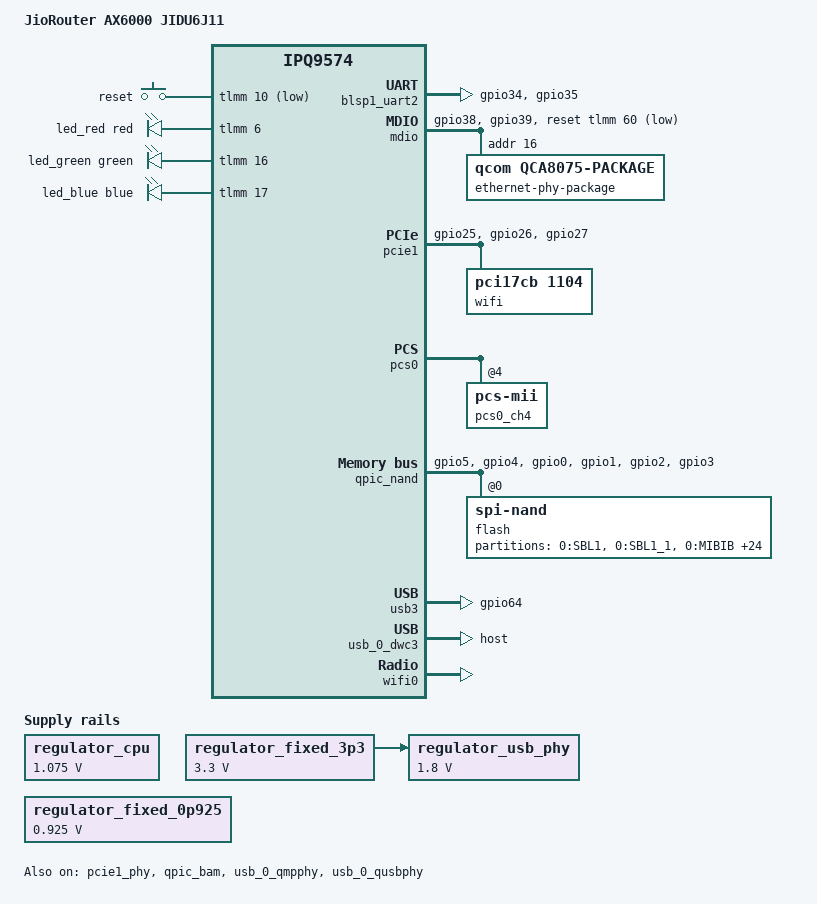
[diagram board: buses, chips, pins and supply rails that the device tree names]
// SPDX-License-Identifier: (GPL-2.0+ OR BSD-3-Clause)

/dts-v1/;

#include <dt-bindings/gpio/gpio.h>
#include <dt-bindings/input/input.h>
#include <dt-bindings/leds/common.h>

#include "ipq9574.dtsi"

/ {
	model = "JioRouter AX6000 JIDU6J11";
	compatible = "jiorouter,ax6000-jidu6j11", "qcom,ipq9574";

	aliases {
		serial0 = &blsp1_uart2;
		led-boot = &led_red;
		led-failsafe = &led_red;
		led-running = &led_green;
		led-upgrade = &led_blue;
	};

	chosen {
		stdout-path = "serial0:115200n8";
	};

	keys {
		compatible = "gpio-keys";
		pinctrl-0 = <&keys_pins>;
		pinctrl-names = "default";

		button-reset {
			label = "reset";
			linux,code = <KEY_RESTART>;
			gpios = <&tlmm 10 GPIO_ACTIVE_LOW>;
		};
	};

	leds {
		compatible = "gpio-leds";
		pinctrl-0 = <&leds_pins>;
		pinctrl-names = "default";

		led_red: led-0 {
			color = <LED_COLOR_ID_RED>;
			function = LED_FUNCTION_STATUS;
			gpios = <&tlmm 6 GPIO_ACTIVE_HIGH>;
			default-state = "on";
		};

		led_green: led-1 {
			color = <LED_COLOR_ID_GREEN>;
			function = LED_FUNCTION_STATUS;
			gpios = <&tlmm 16 GPIO_ACTIVE_HIGH>;
			default-state = "off";
		};

		led_blue: led-2 {
			color = <LED_COLOR_ID_BLUE>;
			function = LED_FUNCTION_STATUS;
			gpios = <&tlmm 17 GPIO_ACTIVE_HIGH>;
			default-state = "off";
		};
	};

	/*
	 * The board has no adjustable CPU regulator in use. The vendor
	 * firmware runs the CPU rail at a fixed 1.075 V.
	 */
	regulator_cpu: regulator-cpu {
		compatible = "regulator-fixed";
		regulator-name = "cpu-vdd";
		regulator-min-microvolt = <1075000>;
		regulator-max-microvolt = <1075000>;
		regulator-boot-on;
		regulator-always-on;
	};

	regulator_fixed_3p3: regulator-3p3 {
		compatible = "regulator-fixed";
		regulator-name = "fixed_3p3";
		regulator-min-microvolt = <3300000>;
		regulator-max-microvolt = <3300000>;
		regulator-boot-on;
		regulator-always-on;
	};

	regulator_fixed_0p925: regulator-0p925 {
		compatible = "regulator-fixed";
		regulator-name = "fixed_0p925";
		regulator-min-microvolt = <925000>;
		regulator-max-microvolt = <925000>;
		regulator-boot-on;
		regulator-always-on;
	};

	regulator_usb_phy: regulator-usb-phy {
		compatible = "regulator-fixed";
		regulator-name = "vdd_usb_phy";
		regulator-min-microvolt = <1800000>;
		regulator-max-microvolt = <1800000>;
		regulator-boot-on;
		regulator-always-on;
		vin-supply = <&regulator_fixed_3p3>;
	};
};

&blsp1_uart2 {
	pinctrl-0 = <&uart2_pins>;
	pinctrl-names = "default";
	status = "okay";
};

&cpu0 {
	cpu-supply = <&regulator_cpu>;
};

&cpu1 {
	cpu-supply = <&regulator_cpu>;
};

&cpu2 {
	cpu-supply = <&regulator_cpu>;
};

&cpu3 {
	cpu-supply = <&regulator_cpu>;
};

&mdio {
	pinctrl-0 = <&mdio_pins>;
	pinctrl-names = "default";
	reset-gpios = <&tlmm 60 GPIO_ACTIVE_LOW>;
	status = "okay";

	ethernet-phy-package@10 {
		compatible = "qcom,qca8075-package";
		#address-cells = <1>;
		#size-cells = <0>;
		reg = <0x10>;

		qca8075_0: ethernet-phy@10 {
			reg = <0x10>;
		};

		qca8075_1: ethernet-phy@11 {
			reg = <0x11>;
		};

		qca8075_2: ethernet-phy@12 {
			reg = <0x12>;
		};

		qca8075_3: ethernet-phy@13 {
			reg = <0x13>;
		};

		qca8075_4: ethernet-phy@14 {
			reg = <0x14>;
		};
	};
};

&pcie1_phy {
	status = "okay";
};

/* QCN9074 5 GHz radio */
&pcie1 {
	pinctrl-0 = <&pcie1_pins>;
	pinctrl-names = "default";
	perst-gpios = <&tlmm 26 GPIO_ACTIVE_LOW>;
	status = "okay";

	pcie@0 {
		device_type = "pci";
		reg = <0x0 0x0 0x0 0x0 0x0>;
		#address-cells = <3>;
		#size-cells = <2>;
		ranges;

		wifi@0,0 {
			compatible = "pci17cb,1104";
			reg = <0x10000 0x0 0x0 0x0 0x0>;
			qcom,ath11k-fw-memory-mode = <2>;
			qcom,ath11k-calibration-variant = "JIDU6J11";
			nvmem-cells = <&base_mac 3>, <&cal_5g>;
			nvmem-cell-names = "mac-address", "calibration";
		};
	};
};

/*
 * The fifth QCA8075 port needs a fifth PCS channel on the first UNIPHY.
 * The SoC dtsi only describes four.
 */
&pcs0 {
	pcs0_ch4: pcs-mii@4 {
		reg = <4>;
		clocks = <&nsscc NSS_CC_UNIPHY_PORT5_RX_CLK>,
			 <&nsscc NSS_CC_UNIPHY_PORT5_TX_CLK>;
		clock-names = "rx",
			      "tx";
	};
};

&qcom_ppe {
	ethernet-ports {
		#address-cells = <1>;
		#size-cells = <0>;

		wan: port@1 {
			reg = <1>;
			label = "wan";
			phy-mode = "psgmii";
			managed = "in-band-status";
			phy-handle = <&qca8075_0>;
			pcs-handle = <&pcs0_ch0>;
			nvmem-cells = <&base_mac 0>;
			nvmem-cell-names = "mac-address";
			clocks = <&nsscc NSS_CC_PORT1_MAC_CLK>,
				 <&nsscc NSS_CC_PORT1_RX_CLK>,
				 <&nsscc NSS_CC_PORT1_TX_CLK>;
			clock-names = "mac", "rx", "tx";
			resets = <&nsscc PORT1_MAC_ARES>,
				 <&nsscc PORT1_RX_ARES>,
				 <&nsscc PORT1_TX_ARES>;
			reset-names = "mac", "rx", "tx";
		};

		lan1: port@2 {
			reg = <2>;
			label = "lan1";
			phy-mode = "psgmii";
			managed = "in-band-status";
			phy-handle = <&qca8075_1>;
			pcs-handle = <&pcs0_ch1>;
			nvmem-cells = <&base_mac 1>;
			nvmem-cell-names = "mac-address";
			clocks = <&nsscc NSS_CC_PORT2_MAC_CLK>,
				 <&nsscc NSS_CC_PORT2_RX_CLK>,
				 <&nsscc NSS_CC_PORT2_TX_CLK>;
			clock-names = "mac", "rx", "tx";
			resets = <&nsscc PORT2_MAC_ARES>,
				 <&nsscc PORT2_RX_ARES>,
				 <&nsscc PORT2_TX_ARES>;
			reset-names = "mac", "rx", "tx";
		};

		lan2: port@3 {
			reg = <3>;
			label = "lan2";
			phy-mode = "psgmii";
			managed = "in-band-status";
			phy-handle = <&qca8075_2>;
			pcs-handle = <&pcs0_ch2>;
			nvmem-cells = <&base_mac 1>;
			nvmem-cell-names = "mac-address";
			clocks = <&nsscc NSS_CC_PORT3_MAC_CLK>,
				 <&nsscc NSS_CC_PORT3_RX_CLK>,
				 <&nsscc NSS_CC_PORT3_TX_CLK>;
			clock-names = "mac", "rx", "tx";
			resets = <&nsscc PORT3_MAC_ARES>,
				 <&nsscc PORT3_RX_ARES>,
				 <&nsscc PORT3_TX_ARES>;
			reset-names = "mac", "rx", "tx";
		};

		lan3: port@4 {
			reg = <4>;
			label = "lan3";
			phy-mode = "psgmii";
			managed = "in-band-status";
			phy-handle = <&qca8075_3>;
			pcs-handle = <&pcs0_ch3>;
			nvmem-cells = <&base_mac 1>;
			nvmem-cell-names = "mac-address";
			clocks = <&nsscc NSS_CC_PORT4_MAC_CLK>,
				 <&nsscc NSS_CC_PORT4_RX_CLK>,
				 <&nsscc NSS_CC_PORT4_TX_CLK>;
			clock-names = "mac", "rx", "tx";
			resets = <&nsscc PORT4_MAC_ARES>,
				 <&nsscc PORT4_RX_ARES>,
				 <&nsscc PORT4_TX_ARES>;
			reset-names = "mac", "rx", "tx";
		};

		lan4: port@5 {
			reg = <5>;
			label = "lan4";
			phy-mode = "psgmii";
			managed = "in-band-status";
			phy-handle = <&qca8075_4>;
			pcs-handle = <&pcs0_ch4>;
			nvmem-cells = <&base_mac 1>;
			nvmem-cell-names = "mac-address";
			clocks = <&nsscc NSS_CC_PORT5_MAC_CLK>,
				 <&nsscc NSS_CC_PORT5_RX_CLK>,
				 <&nsscc NSS_CC_PORT5_TX_CLK>;
			clock-names = "mac", "rx", "tx";
			resets = <&nsscc PORT5_MAC_ARES>,
				 <&nsscc PORT5_RX_ARES>,
				 <&nsscc PORT5_TX_ARES>;
			reset-names = "mac", "rx", "tx";
		};
	};
};

&qpic_bam {
	status = "okay";
};

&qpic_nand {
	pinctrl-0 = <&qpic_snand_pins>;
	pinctrl-names = "default";
	status = "okay";

	flash@0 {
		compatible = "spi-nand";
		reg = <0>;
		#address-cells = <1>;
		#size-cells = <1>;
		nand-ecc-engine = <&qpic_nand>;

		partitions {
			compatible = "fixed-partitions";
			#address-cells = <1>;
			#size-cells = <1>;

			partition@0 {
				label = "0:SBL1";
				reg = <0x0 0x180000>;
				read-only;
			};

			partition@180000 {
				label = "0:SBL1_1";
				reg = <0x180000 0x180000>;
				read-only;
			};

			partition@300000 {
				label = "0:MIBIB";
				reg = <0x300000 0x100000>;
				read-only;
			};

			partition@400000 {
				label = "0:BOOTCONFIG";
				reg = <0x400000 0x80000>;
				read-only;
			};

			partition@480000 {
				label = "0:BOOTCONFIG1";
				reg = <0x480000 0x80000>;
				read-only;
			};

			partition@500000 {
				label = "0:QSEE";
				reg = <0x500000 0x380000>;
				read-only;
			};

			partition@880000 {
				label = "0:QSEE_1";
				reg = <0x880000 0x380000>;
				read-only;
			};

			partition@c00000 {
				label = "0:DEVCFG_1";
				reg = <0xc00000 0x80000>;
				read-only;
			};

			partition@c80000 {
				label = "0:DEVCFG";
				reg = <0xc80000 0x80000>;
				read-only;
			};

			partition@d00000 {
				label = "0:APDP_1";
				reg = <0xd00000 0x80000>;
				read-only;
			};

			partition@d80000 {
				label = "0:APDP";
				reg = <0xd80000 0x80000>;
				read-only;
			};

			partition@e00000 {
				label = "0:TME";
				reg = <0xe00000 0x80000>;
				read-only;
			};

			partition@e80000 {
				label = "0:TME_1";
				reg = <0xe80000 0x80000>;
				read-only;
			};

			partition@f00000 {
				label = "0:RPM_1";
				reg = <0xf00000 0x80000>;
				read-only;
			};

			partition@f80000 {
				label = "0:RPM";
				reg = <0xf80000 0x80000>;
				read-only;
			};

			partition@1000000 {
				label = "0:CDT_1";
				reg = <0x1000000 0x80000>;
				read-only;
			};

			partition@1080000 {
				label = "0:CDT";
				reg = <0x1080000 0x80000>;
				read-only;
			};

			partition@1100000 {
				label = "0:APPSBLENV";
				reg = <0x1100000 0x80000>;
			};

			partition@1180000 {
				label = "0:APPSBL_1";
				reg = <0x1180000 0x180000>;
				read-only;
			};

			partition@1300000 {
				label = "0:APPSBL";
				reg = <0x1300000 0x180000>;
				read-only;
			};

			partition@1480000 {
				label = "0:ART";
				reg = <0x1480000 0x100000>;
				read-only;

				nvmem-layout {
					compatible = "fixed-layout";
					#address-cells = <1>;
					#size-cells = <1>;

					base_mac: base-mac@0 {
						compatible = "mac-base";
						reg = <0x0 0x6>;
						#nvmem-cell-cells = <1>;
					};

					cal_2g: calibration@1000 {
						reg = <0x1000 0x20000>;
					};

					cal_5g: calibration@4c000 {
						reg = <0x4c000 0x20000>;
					};
				};
			};

			partition@1580000 {
				label = "0:ETHPHYFW";
				reg = <0x1580000 0x100000>;
				read-only;
			};

			partition@1680000 {
				label = "0:TRAINING";
				reg = <0x1680000 0x80000>;
				read-only;
			};

			partition@1700000 {
				label = "ubi";
				reg = <0x1700000 0xe100000>;
			};

			partition@f800000 {
				label = "Jio-Reserved";
				reg = <0xf800000 0x200000>;
				read-only;
			};

			partition@fa00000 {
				label = "MFG";
				reg = <0xfa00000 0x200000>;
				read-only;
			};

			partition@fc00000 {
				label = "0:BDF";
				reg = <0xfc00000 0x200000>;
				read-only;
			};
		};
	};
};

&ref_48mhz_clk {
	clock-div = <1>;
	clock-mult = <1>;
};

&sleep_clk {
	clock-frequency = <32000>;
};

&tlmm {
	keys_pins: keys-state {
		pins = "gpio10";
		function = "gpio";
		drive-strength = <8>;
		bias-pull-up;
	};

	leds_pins: leds-state {
		pins = "gpio6", "gpio16", "gpio17";
		function = "gpio";
		drive-strength = <8>;
		bias-pull-up;
	};

	mdio_pins: mdio-state {
		mdc-pins {
			pins = "gpio38";
			function = "mdc";
			drive-strength = <8>;
			bias-disable;
		};

		mdio-pins {
			pins = "gpio39";
			function = "mdio";
			drive-strength = <8>;
			bias-pull-up;
		};
	};

	pcie1_pins: pcie1-state {
		clkreq-n-pins {
			pins = "gpio25";
			function = "pcie1_clk";
			drive-strength = <6>;
			bias-pull-up;
		};

		perst-n-pins {
			pins = "gpio26";
			function = "gpio";
			drive-strength = <8>;
			bias-pull-up;
			output-low;
		};

		wake-n-pins {
			pins = "gpio27";
			function = "pcie1_wake";
			drive-strength = <6>;
			bias-pull-up;
		};
	};

	qpic_snand_pins: qpic-snand-state {
		clock-pins {
			pins = "gpio5";
			function = "qspi_clk";
			drive-strength = <8>;
			bias-disable;
		};

		cs-pins {
			pins = "gpio4";
			function = "qspi_cs";
			drive-strength = <8>;
			bias-disable;
		};

		data-pins {
			pins = "gpio0", "gpio1", "gpio2", "gpio3";
			function = "qspi_data";
			drive-strength = <8>;
			bias-disable;
		};
	};

	uart2_pins: uart2-state {
		pins = "gpio34", "gpio35";
		function = "blsp2_uart";
		drive-strength = <8>;
		bias-disable;
	};

	usb_supply_pins: usb-supply-state {
		pins = "gpio64";
		function = "gpio";
		drive-strength = <8>;
		bias-pull-up;
		output-high;
	};
};

&usb3 {
	pinctrl-0 = <&usb_supply_pins>;
	pinctrl-names = "default";
	status = "okay";
};

&usb_0_dwc3 {
	dr_mode = "host";
};

&usb_0_qmpphy {
	vdda-pll-supply = <&regulator_usb_phy>;
	vdda-phy-supply = <&regulator_fixed_0p925>;
	status = "okay";
};

&usb_0_qusbphy {
	vdd-supply = <&regulator_fixed_0p925>;
	vdda-pll-supply = <&regulator_usb_phy>;
	vdda-phy-dpdm-supply = <&regulator_fixed_3p3>;
	status = "okay";
};

&wifi0 {
	qcom,ath11k-fw-memory-mode = <2>;
	qcom,ath11k-calibration-variant = "JIDU6J11";
	nvmem-cells = <&base_mac 2>, <&cal_2g>;
	nvmem-cell-names = "mac-address", "calibration";
	status = "okay";
};

&xo_board_clk {
	clock-div = <2>;
	clock-mult = <1>;
};

&xo_clk {
	clock-frequency = <48000000>;
};
